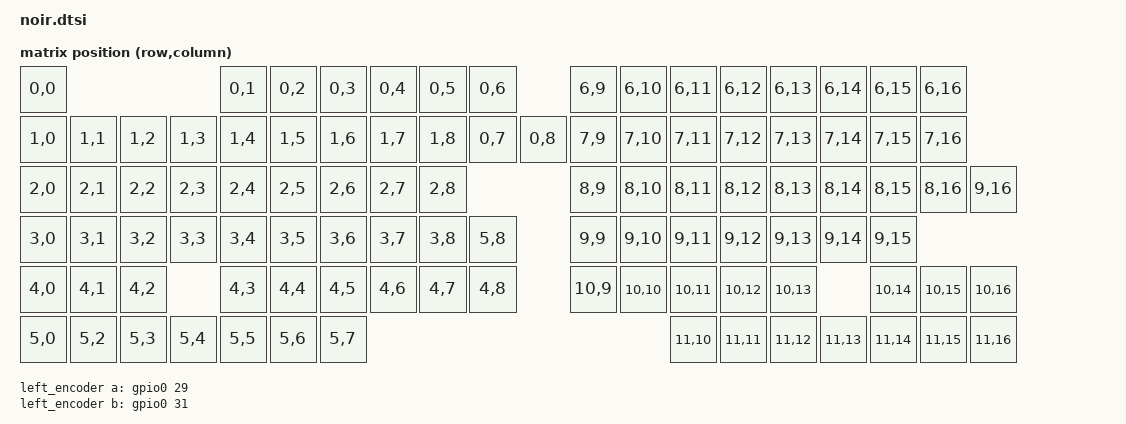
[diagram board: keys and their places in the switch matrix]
/*
 * Copyright (c) 2020 Noir Guo
 *
 * SPDX-License-Identifier: MIT
 */

#include <dt-bindings/zmk/matrix_transform.h>

/ {
    chosen {
        zmk,kscan = &kscan0;
        zmk,matrix-transform = &default_transform;
    };

    default_transform: keymap_transform_0 {
        compatible = "zmk,matrix-transform";
        columns = <17>;
        rows = <12>;
// ------------------------------------------------------------------------------------------------------------
// |U1                          |SW4    |SW5    |SW6    |SW7    |SW8    |SW9 |                  |SW1     |SW2     |SW3    |SW4      |SW5     |SW6     |SW7     |SW8 |
// |SW10 |SW11  |SW12   |SW13   |SW14   |SW15   |SW16   |SW17   |SW18   |SW19   |SW20|          |SW9     |SW10    |SW11   |SW12     |SW13    |SW14    |SW15    |SW16|
// |SW21 |SW22  |SW23           |SW25   |SW26   |SW27   |SW28   |SW29   |SW30|                  |SW17    |SW18    |SW19   |SW20     |SW21    |SW22    |SW23    |SW24    |SW25|
// |SW31 |SW32  |SW33   |SW24   |SW34   |SW35   |SW36   |SW37   |SW38   |SW39|                  |SW26    |SW27    |SW28   |SW29     |SW30    |SW31    |SW32|
// |SW40 |SW41  |SW42           |SW44   |SW45   |SW46   |SW47   |SW48   |SW49|                  |SW33    |SW34    |SW35   |SW36     |SW37    |SW38    |SW39    |SW40|
// |SW50 |      |SW51   |SW43   |SW52|  |SW53   |SW54|  |SW55|                                           |SW41    |SW42   |SW43     |SW44    |SW45    |SW46    |SW47|
        map = <
RC(0,0)                         RC(0,1) RC(0,2) RC(0,3) RC(0,4) RC(0,5) RC(0,6)                 RC(6,9) RC(6,10) RC(6,11) RC(6,12) RC(6,13) RC(6,14) RC(6,15) RC(6,16)
RC(1,0) RC(1,1) RC(1,2) RC(1,3) RC(1,4) RC(1,5) RC(1,6) RC(1,7) RC(1,8) RC(0,7) RC(0,8)         RC(7,9) RC(7,10) RC(7,11) RC(7,12) RC(7,13) RC(7,14) RC(7,15) RC(7,16)
RC(2,0) RC(2,1) RC(2,2)         RC(2,3) RC(2,4) RC(2,5) RC(2,6) RC(2,7) RC(2,8)                 RC(8,9) RC(8,10) RC(8,11) RC(8,12) RC(8,13) RC(8,14) RC(8,15) RC(8,16) RC(9,16)
RC(3,0) RC(3,1) RC(3,2) RC(3,3) RC(3,4) RC(3,5) RC(3,6) RC(3,7) RC(3,8) RC(5,8)                 RC(9,9) RC(9,10) RC(9,11) RC(9,12) RC(9,13) RC(9,14) RC(9,15)
RC(4,0) RC(4,1) RC(4,2)         RC(4,3) RC(4,4) RC(4,5) RC(4,6) RC(4,7) RC(4,8)                 RC(10,9) RC(10,10) RC(10,11) RC(10,12) RC(10,13) RC(10,14) RC(10,15) RC(10,16)
RC(5,0)         RC(5,2) RC(5,3) RC(5,4) RC(5,5) RC(5,6) RC(5,7)                                           RC(11,10) RC(11,11) RC(11,12) RC(11,13) RC(11,14) RC(11,15) RC(11,16)
        >;
    };

    kscan0: kscan {
        compatible = "zmk,kscan-gpio-matrix";
        diode-direction = "col2row";
        wakeup-source;

    


    };

    left_encoder: encoder_left {
        compatible = "alps,ec11";
        a-gpios = <&gpio0 29 (GPIO_ACTIVE_HIGH | GPIO_PULL_UP)>;
        b-gpios = <&gpio0 31 (GPIO_ACTIVE_HIGH | GPIO_PULL_UP)>;
        steps = <80>;
    };

    sensors: sensors {
        compatible = "zmk,keymap-sensors";
        sensors = <&left_encoder>;
        triggers-per-rotation = <20>;
    };
};

